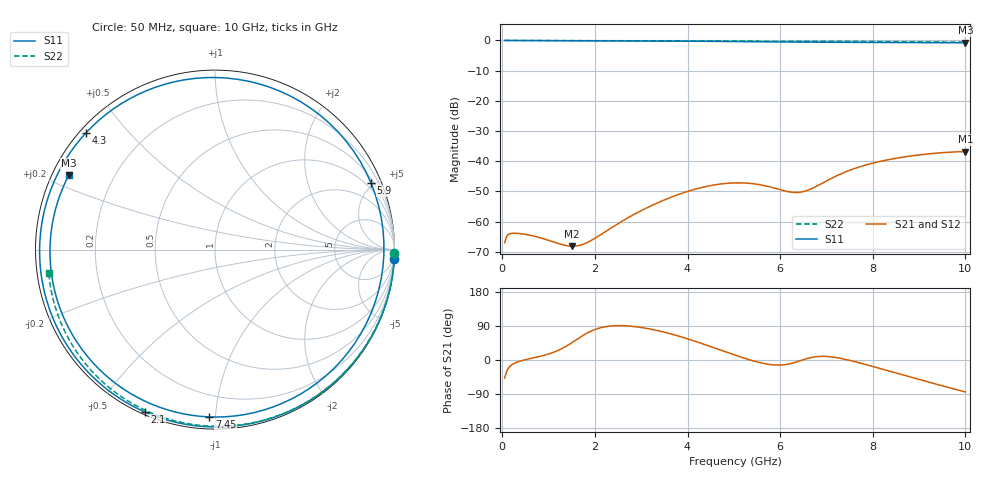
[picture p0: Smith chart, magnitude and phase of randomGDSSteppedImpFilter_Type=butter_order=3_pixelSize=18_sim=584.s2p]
! freq	dB(S11)	phase(S11)	dB(S12)	phase(S12)
!  dB(S21)	phase(S21)	dB(S22)	phase(S22)
!S-par simulation data
#  GHz  S  DB  R 50
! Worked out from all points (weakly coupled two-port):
!   200 points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, 50 MHz to 10 GHz, reference 50 ohm
!   highest |S21| = -36.77 dB at 10 GHz (marker M1); lowest = -68.1 dB at 1.5 GHz (marker M2)
!   lowest |S11| = -0.8 dB at 10 GHz (marker M3), VSWR 22.25, Z = 2.38 + j11.9 ohm
!   |S11| at or under -10 dB: nowhere
!   |S22| runs from -0.6 to 0.0 dB; largest |S21 - S12| = 0
!   S11 on the Smith chart (normalised r, x): 50 MHz: 0, -39; 2.1 GHz: 0.01, -0.66; 4.3 GHz: 0.02, +0.39; 5.9 GHz: 0.69, +4.79; 7.45 GHz: 0.07, -0.96; 10 GHz: 0.05, +0.24
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0.05  -0.00 -2.9  -66.98 -47.7  -66.98 -47.7  -0.00 -1.0
0.1  -0.00 -5.9  -64.65 -28.0  -64.65 -28.0  -0.00 -2.0
0.2  -0.00 -11.7  -63.87 -13.0  -63.87 -13.0  -0.01 -3.9
0.85  -0.05 -48.8  -65.46 10.7  -65.46 10.7  -0.02 -16.4
1.5  -0.10 -83.6  -68.10 45.4  -68.10 45.4  -0.04 -28.8
1.75  -0.11 -96.2  -67.45 65.3  -67.45 65.3  -0.04 -33.5
2.1  -0.13 -113.5  -64.53 84.4  -64.53 84.4  -0.05 -40.0
2.8  -0.16 -146.7  -57.96 88.9  -57.96 88.9  -0.07 -52.8
3.4  -0.19 -175.2  -53.45 76.2  -53.45 76.2  -0.08 -63.5
3.85  -0.23 162.3  -50.74 61.6  -50.74 61.6  -0.10 -71.3
4.3  -0.27 137.7  -48.70 43.9  -48.70 43.9  -0.11 -79.0
4.7  -0.32 113.4  -47.55 26.8  -47.55 26.8  -0.13 -85.8
5.05  -0.37 89.7  -47.15 11.8  -47.15 11.8  -0.14 -91.6
5.45  -0.43 59.7  -47.50 -3.4  -47.50 -3.4  -0.16 -98.1
5.9  -0.49 23.1  -48.97 -13.3  -48.97 -13.3  -0.18 -105.4
6.3  -0.54 -10.0  -50.32 -7.2  -50.32 -7.2  -0.21 -111.8
6.7  -0.57 -41.5  -48.91 7.3  -48.91 7.3  -0.23 -118.2
7.05  -0.59 -66.5  -46.10 9.0  -46.10 9.0  -0.26 -123.7
7.45  -0.61 -92.0  -43.28 0.5  -43.28 0.5  -0.29 -130.0
8.35  -0.66 -139.0  -39.42 -29.1  -39.42 -29.1  -0.37 -144.3
9.15  -0.72 -173.5  -37.63 -56.4  -37.63 -56.4  -0.46 -157.4
10  -0.78 153.1  -36.77 -84.5  -36.77 -84.5  -0.58 -172.0
